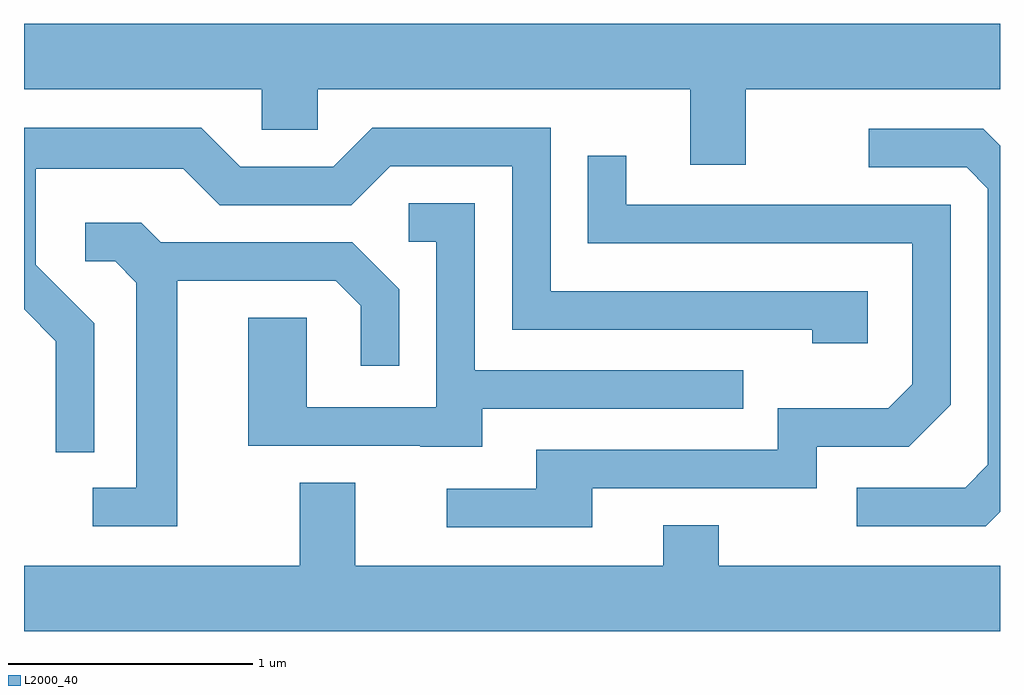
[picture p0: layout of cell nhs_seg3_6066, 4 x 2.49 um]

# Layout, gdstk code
import gdstk
lib = gdstk.Library(unit=1e-6, precision=1e-09)
def P(c, l, *ps):  # polygons
    for p in ps: c.add(gdstk.Polygon(p, *l))
L2000_40 = (2000, 40)

nhs_seg3_6066 = lib.new_cell('nhs_seg3_6066')
P(nhs_seg3_6066, L2000_40, [(363.611,1154.876),(364.586,1154.876),(364.586,1154.711),(364.814,1154.711),(364.814,1154.876),(366.341,1154.876),(366.341,1154.566),(366.569,1154.566),(366.569,1154.876),(367.611,1154.876),(367.611,1155.144),(363.611,1155.144)],
  [(363.899,1153.917),(363.659,1154.157),(363.659,1154.551),(364.264,1154.551),(364.414,1154.401),(364.952,1154.401),(365.112,1154.561),(365.611,1154.561),(365.611,1153.891),(366.841,1153.891),(366.841,1153.836),(367.069,1153.836),(367.069,1154.049),(365.769,1154.049),(365.769,1154.719),(365.039,1154.719),(364.879,1154.559),(364.497,1154.559),(364.337,1154.719),(363.611,1154.719),(363.611,1153.974),(363.741,1153.844),(363.741,1153.388),(363.899,1153.388)],
  [(367.611,1153.145),(367.611,1154.645),(367.542,1154.714),(367.073,1154.714),(367.073,1154.556),(367.474,1154.556),(367.561,1154.469),(367.561,1153.337),(367.469,1153.244),(367.023,1153.244),(367.023,1153.086),(367.552,1153.086)],
  [(365.939,1153.241),(366.859,1153.241),(366.859,1153.411),(367.237,1153.411),(367.409,1153.584),(367.409,1154.404),(366.079,1154.404),(366.079,1154.603),(365.921,1154.603),(365.921,1154.246),(367.251,1154.246),(367.251,1153.667),(367.154,1153.569),(366.701,1153.569),(366.701,1153.399),(365.711,1153.399),(365.711,1153.239),(365.343,1153.239),(365.343,1153.081),(365.939,1153.081)],
  [(365.489,1153.566),(366.558,1153.566),(366.558,1153.724),(365.459,1153.724),(365.459,1154.409),(365.188,1154.409),(365.188,1154.251),(365.301,1154.251),(365.301,1153.574),(364.769,1153.574),(364.769,1153.939),(364.531,1153.939),(364.531,1153.416),(365.235,1153.416),(365.235,1153.411),(365.489,1153.411)],
  [(364.239,1154.091),(364.889,1154.091),(364.991,1153.989),(364.991,1153.743),(365.149,1153.743),(365.149,1154.057),(364.957,1154.249),(364.172,1154.249),(364.092,1154.329),(363.863,1154.329),(363.863,1154.171),(363.984,1154.171),(364.071,1154.084),(364.071,1153.244),(363.893,1153.244),(363.893,1153.086),(364.239,1153.086)],
  [(367.611,1152.924),(366.459,1152.924),(366.459,1153.089),(366.231,1153.089),(366.231,1152.924),(364.969,1152.924),(364.969,1153.264),(364.741,1153.264),(364.741,1152.924),(363.611,1152.924),(363.611,1152.656),(367.611,1152.656)])

lib.write_gds('nhs_seg3_6066.gds')
